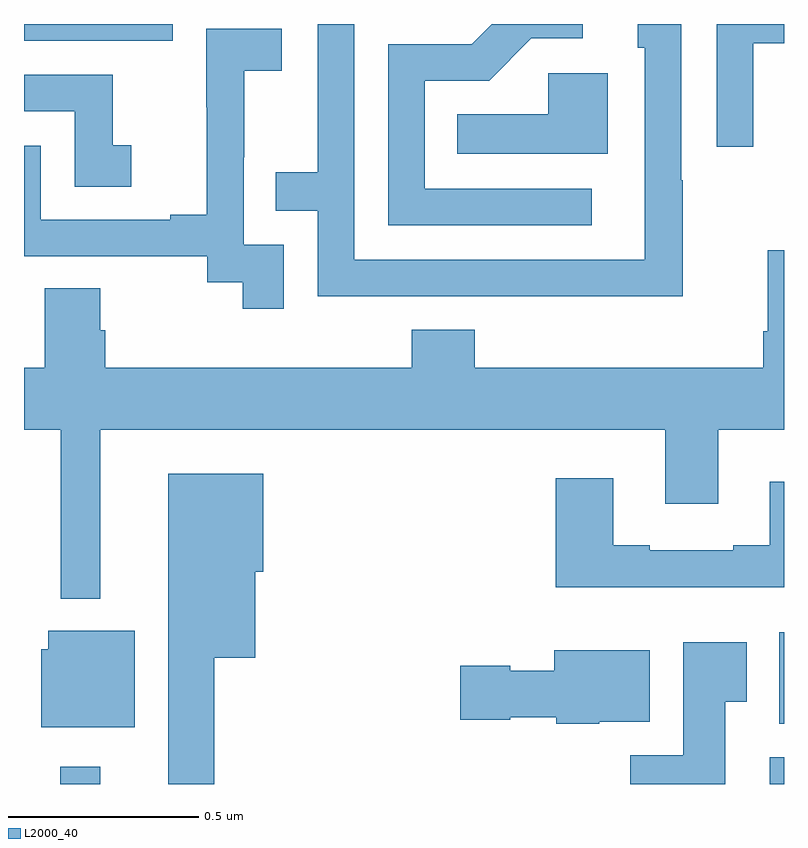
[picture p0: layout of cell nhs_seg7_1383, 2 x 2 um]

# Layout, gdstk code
import gdstk
lib = gdstk.Library(unit=1e-6, precision=1e-09)
def R(c, l, rs):  # rectangles x0, y0, x1, y1
    for r in rs: c.add(gdstk.rectangle(r[:2], r[2:], *l))
def P(c, l, *ps):  # polygons
    for p in ps: c.add(gdstk.Polygon(p, *l))
L2000_40 = (2000, 40)

nhs_seg7_1383 = lib.new_cell('nhs_seg7_1383')
R(nhs_seg7_1383, L2000_40, [(130.095,1017,130.201,1017.046), (131.963,1017,132,1017.07), (131.987,1017.158,132,1017.4), (130,1018.956,130.392,1019)])
P(nhs_seg7_1383, L2000_40, [(131.733,1018.589),(131.73,1018.589),(131.73,1019),(131.615,1019),(131.615,1018.938),(131.634,1018.938),(131.634,1018.628),(131.633,1018.628),(131.633,1018.38),(130.869,1018.38),(130.869,1019),(130.773,1019),(130.773,1018.61),(130.663,1018.61),(130.663,1018.509),(130.773,1018.509),(130.773,1018.284),(131.269,1018.284),(131.269,1018.283),(131.733,1018.283)],
  [(131.919,1018.95),(132,1018.95),(132,1019),(131.823,1019),(131.823,1018.677),(131.919,1018.677)],
  [(131.494,1018.566),(131.055,1018.566),(131.055,1018.851),(131.224,1018.851),(131.335,1018.962),(131.47,1018.962),(131.47,1019),(131.231,1019),(131.178,1018.947),(130.959,1018.947),(130.959,1018.47),(131.494,1018.47)],
  [(130.683,1018.419),(130.578,1018.419),(130.578,1018.649),(130.58,1018.649),(130.58,1018.877),(130.678,1018.877),(130.678,1018.987),(130.48,1018.987),(130.48,1018.781),(130.481,1018.781),(130.481,1018.498),(130.385,1018.498),(130.385,1018.485),(130.044,1018.485),(130.044,1018.68),(130,1018.68),(130,1018.389),(130.482,1018.389),(130.482,1018.321),(130.575,1018.321),(130.575,1018.251),(130.683,1018.251)],
  [(131.536,1018.87),(131.379,1018.87),(131.379,1018.762),(131.14,1018.762),(131.14,1018.658),(131.536,1018.658)],
  [(130.282,1018.681),(130.233,1018.681),(130.233,1018.866),(130,1018.866),(130,1018.77),(130.134,1018.77),(130.134,1018.572),(130.282,1018.572)],
  [(130.201,1017.932),(131.687,1017.932),(131.687,1017.738),(131.827,1017.738),(131.827,1017.932),(132,1017.932),(132,1018.405),(131.957,1018.405),(131.957,1018.192),(131.945,1018.192),(131.945,1018.096),(131.186,1018.096),(131.186,1018.195),(131.021,1018.195),(131.021,1018.096),(130.214,1018.096),(130.214,1018.194),(130.201,1018.194),(130.201,1018.304),(130.054,1018.304),(130.054,1018.096),(130,1018.096),(130,1017.932),(130.097,1017.932),(130.097,1017.488),(130.201,1017.488)],
  [(130.501,1017.332),(130.609,1017.332),(130.609,1017.558),(130.63,1017.558),(130.63,1017.817),(130.379,1017.817),(130.379,1017),(130.501,1017)],
  [(132,1017.796),(131.963,1017.796),(131.963,1017.628),(131.867,1017.628),(131.867,1017.615),(131.647,1017.615),(131.647,1017.628),(131.551,1017.628),(131.551,1017.805),(131.399,1017.805),(131.399,1017.518),(132,1017.518)],
  [(130.291,1017.403),(130.064,1017.403),(130.064,1017.354),(130.046,1017.354),(130.046,1017.149),(130.291,1017.149)],
  [(131.845,1017.217),(131.902,1017.217),(131.902,1017.373),(131.735,1017.373),(131.735,1017.076),(131.596,1017.076),(131.596,1017),(131.845,1017)],
  [(131.514,1017.164),(131.647,1017.164),(131.647,1017.352),(131.396,1017.352),(131.396,1017.298),(131.28,1017.298),(131.28,1017.311),(131.148,1017.311),(131.148,1017.169),(131.28,1017.169),(131.28,1017.176),(131.4,1017.176),(131.4,1017.158),(131.514,1017.158)])

lib.write_gds('nhs_seg7_1383.gds')
